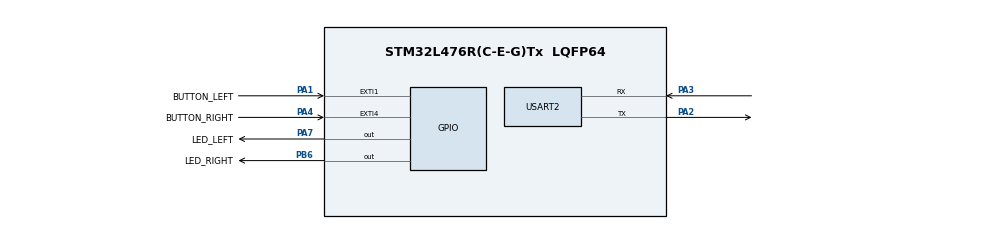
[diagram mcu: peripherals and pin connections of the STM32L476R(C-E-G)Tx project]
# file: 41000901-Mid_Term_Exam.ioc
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Mcu.Family=STM32L4
Mcu.Name=STM32L476R(C-E-G)Tx
Mcu.Package=LQFP64
NVIC.EXTI1_IRQn=true\:0\:0\:false\:false\:true\:true\:true\:true
NVIC.EXTI4_IRQn=true\:0\:0\:false\:false\:true\:true\:true\:true
NVIC.PriorityGroup=NVIC_PRIORITYGROUP_4
PA1.GPIO_Label=BUTTON_LEFT
PA1.Signal=GPXTI1
PA2.Mode=Asynchronous
PA2.Signal=USART2_TX
PA3.Mode=Asynchronous
PA3.Signal=USART2_RX
PA4.GPIO_Label=BUTTON_RIGHT
PA4.Signal=GPXTI4
PA7.GPIO_Label=LED_LEFT
PA7.Signal=GPIO_Output
PB6.GPIO_Label=LED_RIGHT
PB6.PinState=GPIO_PIN_SET
PB6.Signal=GPIO_Output
ProjectManager.HeapSize=0x200
ProjectManager.StackSize=0x400
ProjectManager.TargetToolchain=STM32CubeIDE
RCC.HSE_VALUE=8000000
RCC.HSI_VALUE=16000000
RCC.LSE_VALUE=32768
RCC.MSI_VALUE=4000000
RCC.VCOOutputFreq_Value=32000000
USART2.VirtualMode-Asynchronous=VM_ASYNC
board=custom

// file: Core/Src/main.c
/* USER CODE BEGIN Header */
/**
  ******************************************************************************
  * @file           : main.c
  * @brief          : Main program body
  ******************************************************************************
  * @attention
  *
  * Copyright (c) 2024 STMicroelectronics.
  * All rights reserved.
  *
  * This software is licensed under terms that can be found in the LICENSE file
  * in the root directory of this software component.
  * If no LICENSE file comes with this software, it is provided AS-IS.
  *
  ******************************************************************************
  */
/* USER CODE END Header */
#include "main.h"

UART_HandleTypeDef huart2;

/* USER CODE BEGIN PV */
uint8_t left_pressed = 0;
uint8_t right_pressed = 0;
uint8_t conta_left = 0;
uint8_t conta_right = 0;
static uint32_t time = 0;
/* USER CODE END PV */

void SystemClock_Config(void);
static void MX_GPIO_Init(void);
static void MX_USART2_UART_Init(void);

/* USER CODE BEGIN 0 */
void HAL_GPIO_EXTI_Callback(uint16_t GPIO_Pin)
{

  /* Prevent unused argument(s) compilation warning */
  if (GPIO_Pin == BUTTON_LEFT_Pin ){
	  HAL_UART_Transmit(&huart2, "button_left\r\n", 12, 10);
	  left_pressed = 1;
	  if(HAL_GetTick() - time <= 500){
	 		  time = HAL_GetTick();
	 		  conta_left = conta_left + 1;
	 	  }
	   }

  if (GPIO_Pin == BUTTON_RIGHT_Pin){
 	 HAL_UART_Transmit(&huart2, "button_right\r\n", 13, 10);
	  right_pressed = 1;
	  if(HAL_GetTick() - time <= 500){
	 		  time = HAL_GetTick();
	 		  conta_right = conta_right + 1;
   }

  /* NOTE: This function should not be modified, when the callback is needed,
           the HAL_GPIO_EXTI_Callback could be implemented in the user file
   */
}
}
/* USER CODE END 0 */

int main(void)
{

  /* MCU Configuration--------------------------------------------------------*/

  /* Reset of all peripherals, Initializes the Flash interface and the Systick. */
  HAL_Init();

  /* Configure the system clock */
  SystemClock_Config();

  /* Initialize all configured peripherals */
  MX_GPIO_Init();
  MX_USART2_UART_Init();
  HAL_UART_Transmit(&huart2, "HELLO_WORLD\r\n", 12, 10);

  /* Infinite loop */
  /* USER CODE BEGIN WHILE */
  while (1)
  {
	  if (left_pressed !=0){
		  	  HAL_GPIO_WritePin(LED_LEFT_GPIO_Port, LED_LEFT_Pin, 0);
			  if (conta_left >= 2){
				  for (uint32_t i = 0; i < 10000000000000 ; i++){
				  		  HAL_GPIO_TogglePin(LED_LEFT_GPIO_Port, LED_LEFT_Pin);
				  		  HAL_Delay(250);
				  }
			  }else{
		  for(uint8_t i = 0; i < 6; i++){
		  HAL_GPIO_TogglePin(LED_LEFT_GPIO_Port, LED_LEFT_Pin);
		  HAL_Delay(250);
			  }

	   }
	  }

	  if (right_pressed !=0){
		  	  HAL_GPIO_WritePin(LED_RIGHT_GPIO_Port, LED_RIGHT_Pin, 0);
			  if (conta_right >= 2){
				  for (uint32_t i = 0; i < 10000000000000 ; i++){
				  		  HAL_GPIO_TogglePin(LED_RIGHT_GPIO_Port, LED_RIGHT_Pin);
				  		  HAL_Delay(250);
				  }
			  }else{
		  for(uint8_t i = 0; i < 6; i++){
		  HAL_GPIO_TogglePin(LED_RIGHT_GPIO_Port, LED_RIGHT_Pin);
		  HAL_Delay(250);
			  }

	   }
	  }

    /* USER CODE END WHILE */

  }

}
void SystemClock_Config(void)
{
  RCC_OscInitTypeDef RCC_OscInitStruct = {0};
  RCC_ClkInitTypeDef RCC_ClkInitStruct = {0};

  /** Configure the main internal regulator output voltage
  */
  if (HAL_PWREx_ControlVoltageScaling(PWR_REGULATOR_VOLTAGE_SCALE1) != HAL_OK)
  {
    Error_Handler();
  }

  /** Initializes the RCC Oscillators according to the specified parameters
  * in the RCC_OscInitTypeDef structure.
  */
  RCC_OscInitStruct.OscillatorType = RCC_OSCILLATORTYPE_MSI;
  RCC_OscInitStruct.MSIState = RCC_MSI_ON;
  RCC_OscInitStruct.MSICalibrationValue = 0;
  RCC_OscInitStruct.MSIClockRange = RCC_MSIRANGE_6;
  RCC_OscInitStruct.PLL.PLLState = RCC_PLL_NONE;
  if (HAL_RCC_OscConfig(&RCC_OscInitStruct) != HAL_OK)
  {
    Error_Handler();
  }

  /** Initializes the CPU, AHB and APB buses clocks
  */
  RCC_ClkInitStruct.ClockType = RCC_CLOCKTYPE_HCLK|RCC_CLOCKTYPE_SYSCLK
                              |RCC_CLOCKTYPE_PCLK1|RCC_CLOCKTYPE_PCLK2;
  RCC_ClkInitStruct.SYSCLKSource = RCC_SYSCLKSOURCE_MSI;
  RCC_ClkInitStruct.AHBCLKDivider = RCC_SYSCLK_DIV1;
  RCC_ClkInitStruct.APB1CLKDivider = RCC_HCLK_DIV1;
  RCC_ClkInitStruct.APB2CLKDivider = RCC_HCLK_DIV1;

  if (HAL_RCC_ClockConfig(&RCC_ClkInitStruct, FLASH_LATENCY_0) != HAL_OK)
  {
    Error_Handler();
  }
}

static void MX_USART2_UART_Init(void)
{

  huart2.Instance = USART2;
  huart2.Init.BaudRate = 115200;
  huart2.Init.WordLength = UART_WORDLENGTH_8B;
  huart2.Init.StopBits = UART_STOPBITS_1;
  huart2.Init.Parity = UART_PARITY_NONE;
  huart2.Init.Mode = UART_MODE_TX_RX;
  huart2.Init.HwFlowCtl = UART_HWCONTROL_NONE;
  huart2.Init.OverSampling = UART_OVERSAMPLING_16;
  huart2.Init.OneBitSampling = UART_ONE_BIT_SAMPLE_DISABLE;
  huart2.AdvancedInit.AdvFeatureInit = UART_ADVFEATURE_NO_INIT;
  if (HAL_UART_Init(&huart2) != HAL_OK)
  {
    Error_Handler();
  }

}

static void MX_GPIO_Init(void)
{
  GPIO_InitTypeDef GPIO_InitStruct = {0};

  /* GPIO Ports Clock Enable */
  __HAL_RCC_GPIOA_CLK_ENABLE();
  __HAL_RCC_GPIOB_CLK_ENABLE();

  /*Configure GPIO pin Output Level */
  HAL_GPIO_WritePin(LED_LEFT_GPIO_Port, LED_LEFT_Pin, GPIO_PIN_SET);

  /*Configure GPIO pin Output Level */
  HAL_GPIO_WritePin(LED_RIGHT_GPIO_Port, LED_RIGHT_Pin, GPIO_PIN_SET);

  /*Configure GPIO pins : button_left_Pin button_right_Pin */
  GPIO_InitStruct.Pin = BUTTON_LEFT_Pin|BUTTON_RIGHT_Pin;
  GPIO_InitStruct.Mode = GPIO_MODE_IT_RISING;
  GPIO_InitStruct.Pull = GPIO_NOPULL;
  HAL_GPIO_Init(GPIOA, &GPIO_InitStruct);

  /*Configure GPIO pin : led_left_Pin */
  GPIO_InitStruct.Pin = LED_LEFT_Pin;
  GPIO_InitStruct.Mode = GPIO_MODE_OUTPUT_PP;
  GPIO_InitStruct.Pull = GPIO_NOPULL;
  GPIO_InitStruct.Speed = GPIO_SPEED_FREQ_LOW;
  HAL_GPIO_Init(LED_LEFT_GPIO_Port, &GPIO_InitStruct);

  /*Configure GPIO pin : led_right_Pin */
  GPIO_InitStruct.Pin = LED_RIGHT_Pin;
  GPIO_InitStruct.Mode = GPIO_MODE_OUTPUT_PP;
  GPIO_InitStruct.Pull = GPIO_NOPULL;
  GPIO_InitStruct.Speed = GPIO_SPEED_FREQ_LOW;
  HAL_GPIO_Init(LED_RIGHT_GPIO_Port, &GPIO_InitStruct);

  /* EXTI interrupt init*/
  HAL_NVIC_SetPriority(EXTI1_IRQn, 0, 0);
  HAL_NVIC_EnableIRQ(EXTI1_IRQn);

  HAL_NVIC_SetPriority(EXTI4_IRQn, 0, 0);
  HAL_NVIC_EnableIRQ(EXTI4_IRQn);

}

void Error_Handler(void)
{
  __disable_irq();
  while (1)
  {
  }
}
